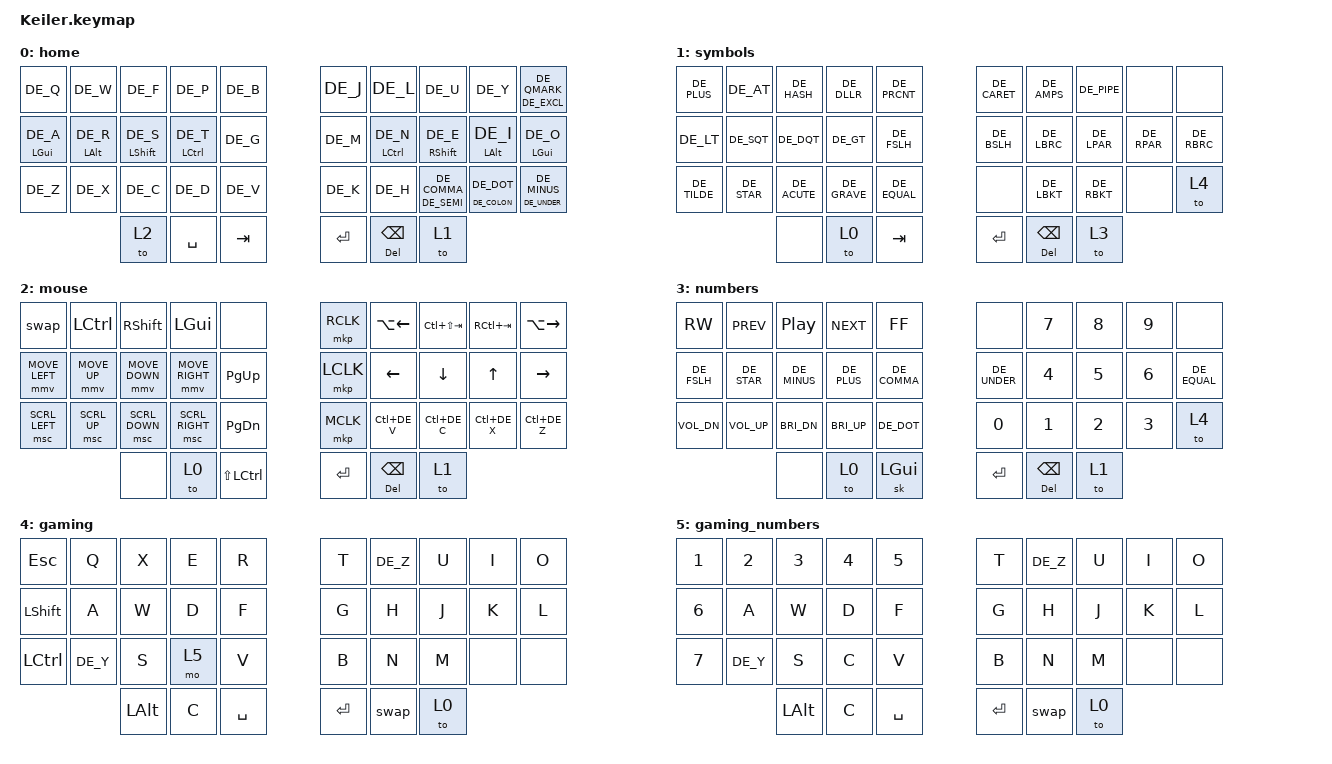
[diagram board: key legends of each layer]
#include "keys_de.h"
#include "zmk-helpers/helper.h"
#include "combos.dtsi"  // requires layer aliases
#include <behaviors.dtsi>
#include <dt-bindings/zmk/bt.h>
#include <dt-bindings/zmk/keys.h>
#include <dt-bindings/zmk/mouse.h>

//                KEY POSITIONS
// ╭──────────────╮ ╭──────────────╮
// │ 0  1  2  3  4│ │ 5  6  7  8  9│
// │10 11 12 13 14│ │15 16 17 18 19│
// │20 21 22 23 24│ │25 26 27 28 29│
// ╰─────╮30 31 32│ │33 34 35╭─────╯
//       ╰────────╯ ╰────────╯

#define QUICK_TAP_MS 175
#define KEYS_L 0 1 2 3 4 10 11 12 13 14 20 21 22 23 24   // left hand
#define KEYS_R 5 6 7 8 9 15 16 17 18 19 25 26 27 28 29   // right hand
#define THUMBS 30 31 32 33 34 35                         // thumbs

#define MAKE_HRM(NAME, HOLD, TAP, TRIGGER_POS) \
    ZMK_HOLD_TAP(NAME, \
        flavor = "balanced"; \
        tapping-term-ms = <280>; \
        quick-tap-ms = <QUICK_TAP_MS>; \
        require-prior-idle-ms = <150>; \
        bindings = <HOLD>, <TAP>; \
        hold-trigger-key-positions = <TRIGGER_POS>; \
        hold-trigger-on-release; \
    )

MAKE_HRM(hml, &kp, &kp, KEYS_R)  // left-hand HRMs
MAKE_HRM(hmr, &kp, &kp, KEYS_L)  // right-hand HRMs
MAKE_HRM(ml, &mo, &kp, THUMBS) //thumb 
&mt {
    flavor = "tap-preferred";
    tapping_term_ms = <200>;
};

&mmv {
    time-to-max-speed-ms = <680>;
    acceleration-exponent = <2>;
};

/ {
    behaviors {
        swap: swapper {
            compatible = "zmk,behavior-tri-state";
            label = "SWAPPER";
            #binding-cells = <0>;
            bindings = <&kt LALT>, <&kp TAB>, <&kt LALT>;

            td: tapdance {
                compatible = "zmk,behavior-hold-tap";
                label = "TAPDANCE";
                #binding-cells = <2>;
                tapping-term-ms = <250>;
                quick_tap_ms = <0>;
                flavor = "tap-preferred";
                bindings = <&kp>, <&kp>;
            };
        };
    };

    keymap {
        compatible = "zmk,keymap";

        home {
            // layer 

            bindings = <
&kp DE_Q        &kp DE_W        &kp DE_F         &kp DE_P         &kp DE_B  &kp DE_J  &kp DE_L           &kp DE_U              &kp DE_Y             &td DE_EXCL DE_QMARK
&hml LGUI DE_A  &hml LALT DE_R  &hml LSHFT DE_S  &hml LCTRL DE_T  &kp DE_G  &kp DE_M  &hmr LCTRL DE_N    &hmr RSHFT DE_E       &hmr LALT DE_I       &hmr LGUI DE_O
&kp DE_Z        &kp DE_X        &kp DE_C         &kp DE_D         &kp DE_V  &kp DE_K  &kp DE_H           &td DE_SEMI DE_COMMA  &td DE_COLON DE_DOT  &td DE_UNDER DE_MINUS
                                &to 2            &kp SPACE        &kp TAB   &kp RET   &td DEL BACKSPACE  &to 1
            >;
        };

        symbols {
            // layer 1

            bindings = <
&kp DE_PLUS   &kp DE_AT    &kp DE_HASH   &kp DE_DLLR   &kp DE_PRCNT  &kp DE_CARET  &kp DE_AMPS  &kp DE_PIPE  &none        &none
&kp DE_LT     &kp DE_SQT   &kp DE_DQT    &kp DE_GT     &kp DE_FSLH   &kp DE_BSLH   &kp DE_LBRC  &kp DE_LPAR  &kp DE_RPAR  &kp DE_RBRC
&kp DE_TILDE  &kp DE_STAR  &kp DE_ACUTE  &kp DE_GRAVE  &kp DE_EQUAL  &none         &kp DE_LBKT  &kp DE_RBKT  &none        &to 4
                           &none         &to 0         &kp TAB         &kp RET       &td DEL BACKSPACE       &to 3
            >;
        };

        mouse {
            // layer 2

            bindings = <
&swap           &kp LCTRL       &kp RSHFT        &kp LGUI         &none                 &mkp RCLK  &kp LA(LEFT)   &kp LC(LS(TAB))  &kp RC(TAB)   &kp LA(RIGHT)
&mmv MOVE_LEFT  &mmv MOVE_UP    &mmv MOVE_DOWN   &mmv MOVE_RIGHT  &kp PG_UP             &mkp LCLK  &kp LEFT       &kp DOWN         &kp UP        &kp RIGHT
&msc SCRL_LEFT  &msc SCRL_UP    &msc SCRL_DOWN   &msc SCRL_RIGHT  &kp PG_DN             &mkp MCLK  &kp LC(DE_V)   &kp LC(DE_C)     &kp LC(DE_X)  &kp LC(DE_Z)
                                &none         &to 0            &kp LS(LEFT_CONTROL)  &kp RET    &td DEL BACKSPACE  &to 1
            >;
        };

        numbers {
            // layer 3

            bindings = <
&kp C_RW      &kp C_PREV    &kp C_PP      &kp C_NEXT    &kp C_FF      &none         &kp N7  &kp N8  &kp N9  &none
&kp DE_FSLH   &kp DE_STAR   &kp DE_MINUS  &kp DE_PLUS   &kp DE_COMMA  &kp DE_UNDER  &kp N4  &kp N5  &kp N6  &kp DE_EQUAL
&kp C_VOL_DN  &kp C_VOL_UP  &kp C_BRI_DN  &kp C_BRI_UP  &kp DE_DOT    &kp N0        &kp N1  &kp N2  &kp N3  &to 4
                            &none         &to 0         &sk LGUI      &kp RET       &td DEL BACKSPACE   &to 1
            >;
        };

        gaming {
            // layer 4

            bindings = <
&kp ESC    &kp Q     &kp X     &kp E  &kp R      &kp T    &kp DE_Z  &kp U  &kp I  &kp O
&kp LSHFT  &kp A     &kp W     &kp D  &kp F      &kp G    &kp H     &kp J  &kp K  &kp L
&kp LCTRL  &kp DE_Y  &kp S     &mo 5  &kp V      &kp B    &kp N     &kp M  &none  &none
                     &kp LALT  &kp C  &kp SPACE  &kp RET  &swap     &to 0
            >;
        };

         gaming_numbers {
            // layer 5

            bindings = <
&kp N1  &kp N2    &kp N3    &kp N4 &kp N5         &kp T    &kp DE_Z  &kp U  &kp I  &kp O
&kp N6  &kp A     &kp W     &kp D  &kp F          &kp G    &kp H     &kp J  &kp K  &kp L
&kp N7  &kp DE_Y  &kp S     &kp C  &kp V          &kp B    &kp N     &kp M  &none  &none
               &kp LALT  &kp C  &kp SPACE         &kp RET  &swap     &to 0
            >;
        };


    };
};
